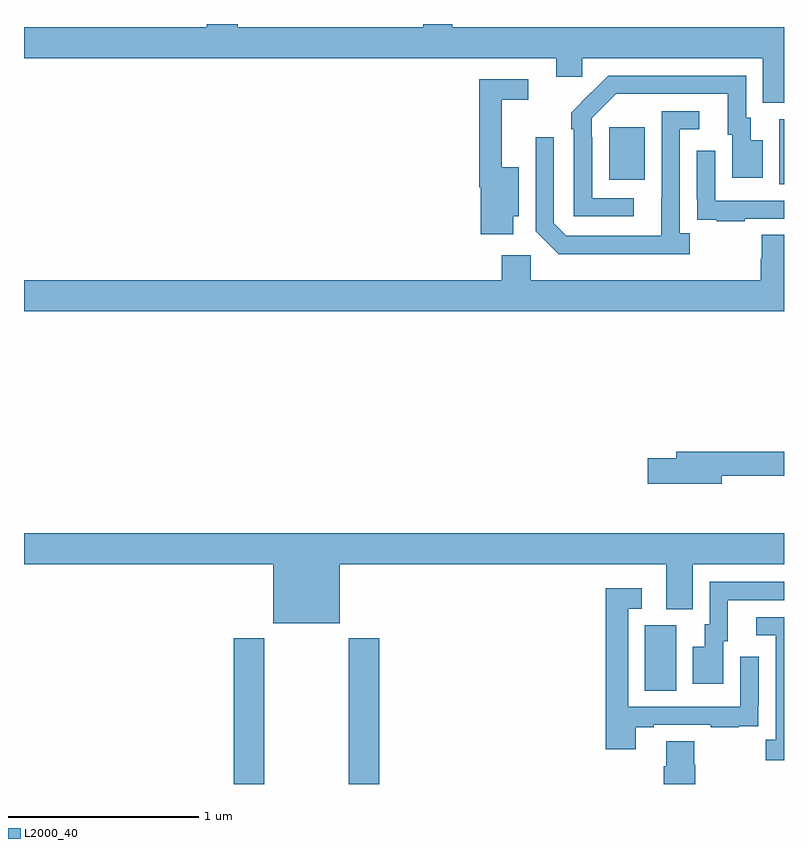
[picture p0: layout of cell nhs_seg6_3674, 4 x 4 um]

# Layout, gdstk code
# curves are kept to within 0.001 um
import gdstk
lib = gdstk.Library(unit=1e-6, precision=1e-09)
def R(c, l, rs):  # rectangles x0, y0, x1, y1
    for r in rs: c.add(gdstk.rectangle(r[:2], r[2:], *l))
def P(c, l, *ps):  # polygons
    for p in ps: c.add(gdstk.Polygon(p, *l))
L2000_40 = (2000, 40)

nhs_seg6_3674 = lib.new_cell('nhs_seg6_3674')
R(nhs_seg6_3674, L2000_40, [(326.105,959.5,326.265,960.268), (326.71,959.5,326.87,960.268), (328.268,959.992,328.432,960.336), (328.976,962.656,329,963), (328.079,962.681,328.267,962.956)])
P(nhs_seg6_3674, L2000_40, [(329,963.484),(327.253,963.484),(327.253,963.5),(327.101,963.5),(327.101,963.484),(326.126,963.484),(326.126,963.5),(325.961,963.5),(325.961,963.484),(325,963.484),(325,963.32),(327.8,963.32),(327.8,963.222),(327.939,963.222),(327.939,963.32),(328.889,963.32),(328.889,963.085),(329,963.085)],
  [(328.21,962.583),(327.99,962.583),(327.99,962.903),(327.987,962.903),(327.987,963.003),(328.116,963.132),(328.703,963.132),(328.703,962.916),(328.727,962.916),(328.727,962.691),(328.888,962.691),(328.888,962.887),(328.825,962.887),(328.825,963.006),(328.8,963.006),(328.8,963.228),(328.076,963.228),(327.879,963.033),(327.879,962.945),(327.894,962.945),(327.894,962.487),(328.21,962.487)],
  [(327.574,962.489),(327.604,962.489),(327.604,962.746),(327.515,962.746),(327.515,963.102),(327.655,963.102),(327.655,963.21),(327.397,963.21),(327.397,962.642),(327.404,962.642),(327.404,962.394),(327.574,962.394)],
  [(328.504,962.398),(328.452,962.398),(328.452,962.946),(328.555,962.946),(328.555,963.042),(328.356,963.042),(328.355,962.385),(327.855,962.385),(327.789,962.451),(327.789,962.905),(327.693,962.905),(327.693,962.409),(327.814,962.288),(328.504,962.288)],
  [(328.793,962.475),(329,962.475),(329,962.571),(328.638,962.571),(328.638,962.833),(328.542,962.833),(328.542,962.578),(328.543,962.578),(328.543,962.469),(328.645,962.469),(328.645,962.463),(328.793,962.463)],
  [(329,962.39),(328.882,962.39),(328.882,962.265),(328.877,962.265),(328.877,962.152),(327.666,962.152),(327.666,962.284),(327.515,962.284),(327.515,962.152),(325,962.152),(325,961.988),(329,961.988)],
  [(328.672,961.122),(329,961.122),(329,961.25),(328.433,961.25),(328.433,961.214),(328.284,961.214),(328.284,961.079),(328.672,961.079)],
  [(326.662,960.656),(328.379,960.656),(328.379,960.421),(328.519,960.421),(328.519,960.656),(329,960.656),(329,960.82),(325,960.82),(325,960.656),(326.312,960.656),(326.312,960.347),(326.662,960.347)],
  [(328.681,960.252),(328.705,960.252),(328.705,960.468),(329,960.468),(329,960.564),(328.608,960.564),(328.608,960.342),(328.583,960.342),(328.583,960.223),(328.52,960.223),(328.52,960.027),(328.681,960.027)],
  [(328.219,959.799),(328.315,959.799),(328.315,959.811),(328.615,959.811),(328.615,959.799),(328.763,959.799),(328.763,959.805),(328.865,959.805),(328.865,959.914),(328.866,959.914),(328.866,960.169),(328.77,960.169),(328.77,959.907),(328.179,959.907),(328.179,960.423),(328.252,960.423),(328.252,960.529),(328.063,960.529),(328.063,959.682),(328.219,959.682)],
  [(329,960.378),(328.854,960.378),(328.854,960.282),(328.956,960.282),(328.956,959.734),(328.905,959.734),(328.905,959.624),(329,959.624)],
  [(328.532,959.601),(328.527,959.601),(328.527,959.726),(328.379,959.726),(328.379,959.594),(328.367,959.594),(328.367,959.5),(328.532,959.5)])

lib.write_gds('nhs_seg6_3674.gds')
